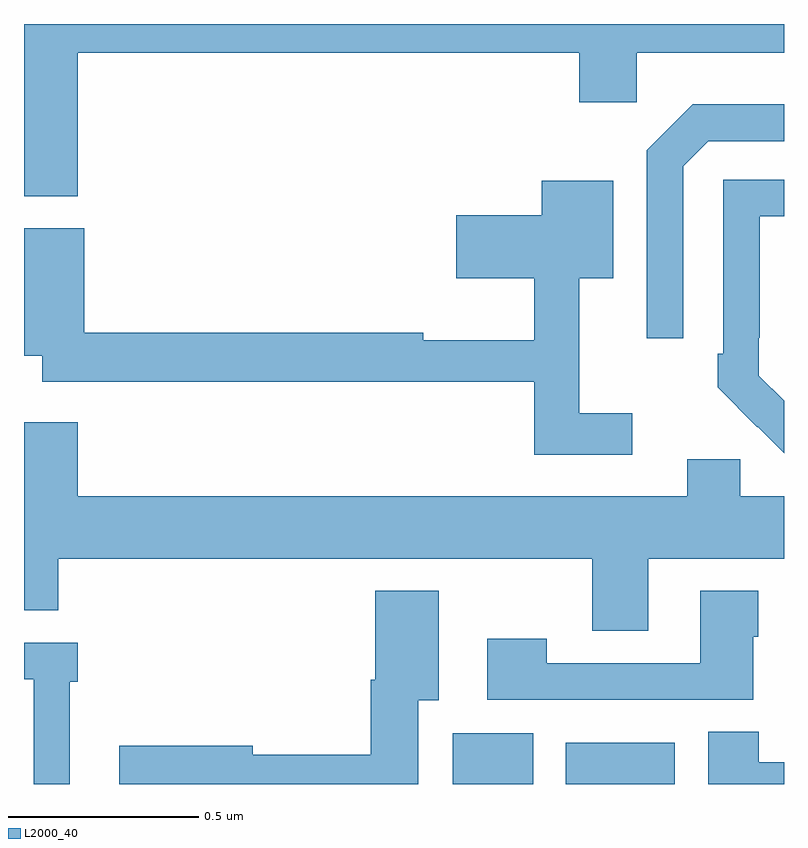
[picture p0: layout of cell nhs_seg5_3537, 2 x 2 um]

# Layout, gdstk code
import gdstk
lib = gdstk.Library(unit=1e-6, precision=1e-09)
def R(c, l, rs):  # rectangles x0, y0, x1, y1
    for r in rs: c.add(gdstk.rectangle(r[:2], r[2:], *l))
def P(c, l, *ps):  # polygons
    for p in ps: c.add(gdstk.Polygon(p, *l))
L2000_40 = (2000, 40)

nhs_seg5_3537 = lib.new_cell('nhs_seg5_3537')
R(nhs_seg5_3537, L2000_40, [(159.128,890.799,159.34,890.932), (159.425,890.799,159.712,890.908)])
P(nhs_seg5_3537, L2000_40, [(158.141,892.724),(159.461,892.724),(159.461,892.593),(159.612,892.593),(159.612,892.724),(160,892.724),(160,892.799),(158,892.799),(158,892.346),(158.141,892.346)],
  [(159.735,892.425),(159.801,892.491),(160,892.491),(160,892.588),(159.76,892.588),(159.639,892.467),(159.639,891.972),(159.735,891.972)],
  [(160,891.807),(159.933,891.873),(159.933,891.973),(159.936,891.973),(159.936,892.293),(160,892.293),(160,892.389),(159.84,892.389),(159.84,891.931),(159.825,891.931),(159.825,891.843),(159.93,891.738),(159.931,891.739),(160,891.67)],
  [(159.601,891.775),(159.461,891.775),(159.461,892.13),(159.55,892.13),(159.55,892.387),(159.362,892.387),(159.362,892.296),(159.138,892.296),(159.138,892.13),(159.343,892.13),(159.343,891.967),(159.05,891.967),(159.05,891.986),(158.158,891.986),(158.158,892.261),(158,892.261),(158,891.926),(158.048,891.926),(158.048,891.858),(159.343,891.858),(159.343,891.666),(159.601,891.666)],
  [(159.643,891.392),(160,891.392),(160,891.556),(159.885,891.556),(159.885,891.654),(159.746,891.654),(159.746,891.556),(158.141,891.556),(158.141,891.751),(158,891.751),(158,891.256),(158.09,891.256),(158.09,891.392),(159.496,891.392),(159.496,891.202),(159.643,891.202)],
  [(159.919,891.187),(159.932,891.187),(159.932,891.307),(159.779,891.307),(159.779,891.117),(159.375,891.117),(159.375,891.181),(159.219,891.181),(159.219,891.021),(159.919,891.021)],
  [(159.037,891.02),(159.091,891.02),(159.091,891.307),(158.924,891.307),(158.924,891.074),(158.912,891.074),(158.912,890.876),(158.602,890.876),(158.602,890.9),(158.25,890.9),(158.25,890.799),(159.037,890.799)],
  [(158.121,891.068),(158.141,891.068),(158.141,891.171),(158,891.171),(158,891.075),(158.025,891.075),(158.025,890.799),(158.121,890.799)],
  [(160,890.856),(159.934,890.856),(159.934,890.936),(159.8,890.936),(159.8,890.799),(160,890.799)])

lib.write_gds('nhs_seg5_3537.gds')
